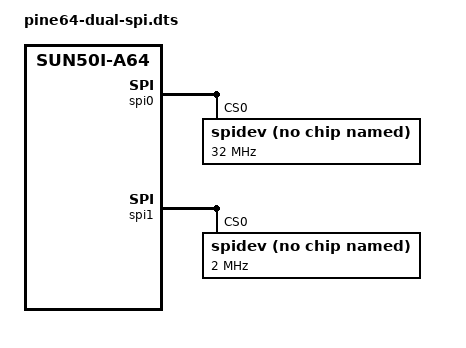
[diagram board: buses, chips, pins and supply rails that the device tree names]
/dts-v1/;
/plugin/;

/ {
    compatible = "allwinner,sun50i-a64";

    fragment@0 {
        target = <&spi0>;
        __overlay__ {
            status = "okay";

            spidev@0 {
                compatible = "rohm,dh2228fv";
                reg = <0>;
                spi-max-frequency = <32000000>;
            };
        };
    };

    fragment@1 {
        target = <&spi1>;
        __overlay__ {
            status = "okay";

            spidev@1 {
                compatible = "rohm,dh2228fv";
                reg = <0>;
                spi-max-frequency = <2000000>; // 2 MHz for XPT2046
            };
        };
    };
};
